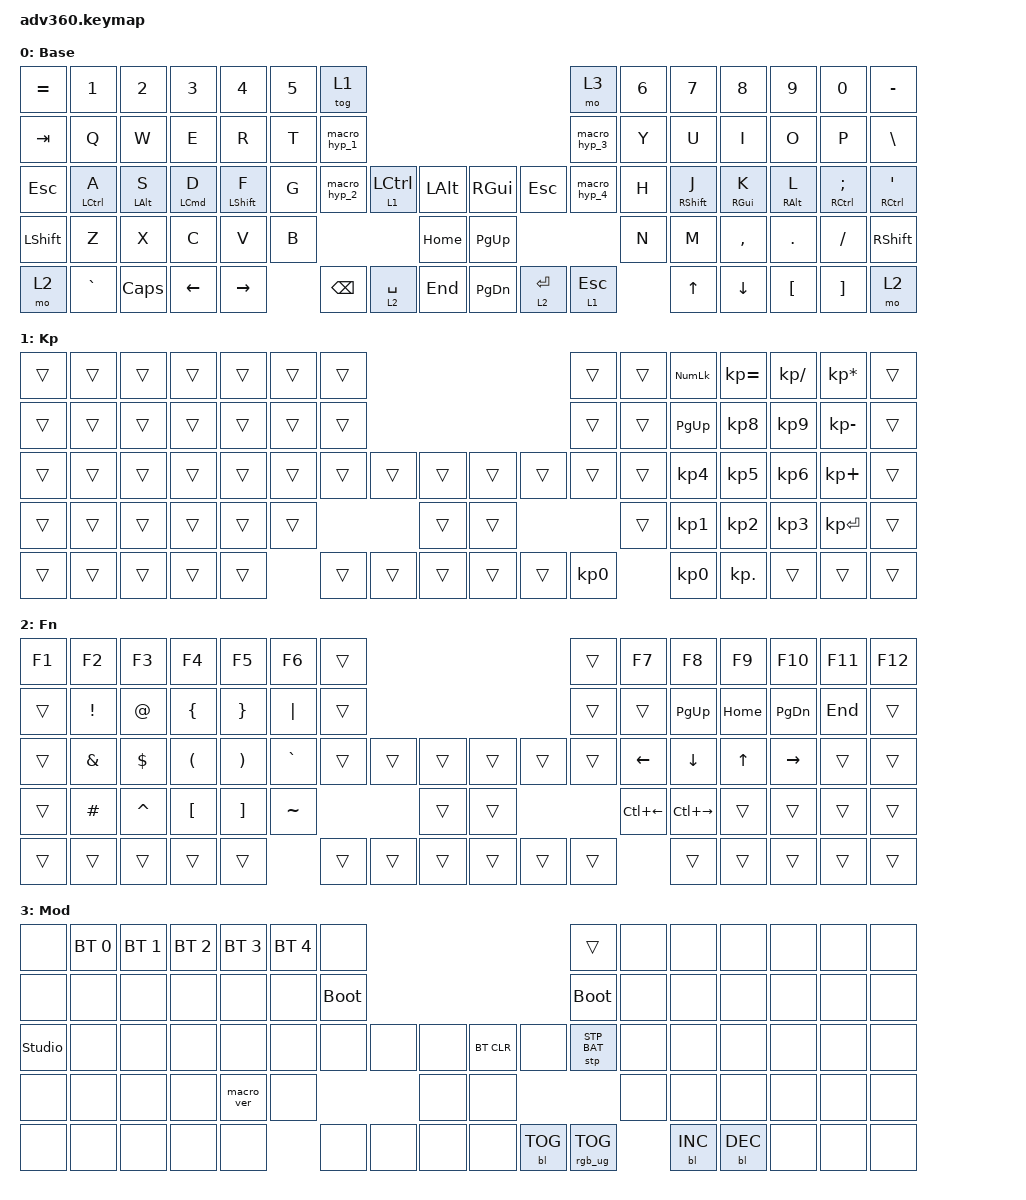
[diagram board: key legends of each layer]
/*
 * Copyright (c) 2020 The ZMK Contributors
 *
 * SPDX-License-Identifier: MIT
 */
/* THIS FILE WAS GENERATED!
 *
 * This file was generated automatically. You may or may not want to
 * edit it directly.
 */

#include <dt-bindings/zmk/stp.h>
#include <behaviors.dtsi>
#include <dt-bindings/zmk/backlight.h>
#include <dt-bindings/zmk/bt.h>
#include <dt-bindings/zmk/keys.h>
#include <dt-bindings/zmk/rgb.h>

/ {
    behaviors {
        #include "macros.dtsi"
        #include "version.dtsi"

        hm: homerow_mods {
            compatible = "zmk,behavior-hold-tap";
            label = "HOMEROW_MODS";
            #binding-cells = <2>;
            tapping-term-ms = <200>;
            quick_tap_ms = <175>;
            flavor = "tap-preferred";
            bindings = <&kp>, <&kp>;
        };
    };

    keymap {
        compatible = "zmk,keymap";

        default_layer {
            display-name = "Base";
            bindings = <
&kp EQUAL  &kp N1       &kp N2          &kp N3      &kp N4            &kp N5  &tog 1                                                              &mo 3         &kp N6  &kp N7       &kp N8           &kp N9      &kp N0          &kp MINUS
&kp TAB    &kp Q        &kp W           &kp E       &kp R             &kp T   &macro_hyp_1                                                        &macro_hyp_3  &kp Y   &kp U        &kp I            &kp O       &kp P           &kp BSLH
&kp ESC    &hm LCTRL A  &hm LEFT_ALT S  &hm LCMD D  &hm LEFT_SHIFT F  &kp G   &macro_hyp_2   &lt 1 LCTRL  &kp LEFT_ALT      &kp RGUI   &kp ESC    &macro_hyp_4  &kp H   &hm RSHFT J  &hm RIGHT_GUI K  &hm RALT L  &hm RCTRL SEMI  &mt RCTRL SQT
&kp LSHFT  &kp Z        &kp X           &kp C       &kp V             &kp B                               &kp HOME          &kp PG_UP                           &kp N   &kp M        &kp COMMA        &kp DOT     &kp FSLH        &kp RSHFT
&mo 2      &kp GRAVE    &kp CAPS        &kp LEFT    &kp RIGHT                 &kp BACKSPACE  &lt 2 SPACE  &kp END           &kp PG_DN  &lt 2 RET  &lt 1 ESC             &kp UP       &kp DOWN         &kp LBKT    &kp RBKT        &mo 2
            >;
        };

        keypad {
            display-name = "Kp";
            bindings = <
&trans  &trans  &trans  &trans  &trans  &trans  &trans                                      &trans     &trans  &kp KP_NUM       &kp KP_EQUAL     &kp KP_DIVIDE    &kp KP_MULTIPLY  &trans
&trans  &trans  &trans  &trans  &trans  &trans  &trans                                      &trans     &trans  &kp PG_UP        &kp KP_N8        &kp KP_N9        &kp KP_MINUS     &trans
&trans  &trans  &trans  &trans  &trans  &trans  &trans  &trans  &trans      &trans  &trans  &trans     &trans  &kp KP_NUMBER_4  &kp KP_NUMBER_5  &kp KP_NUMBER_6  &kp KP_PLUS      &trans
&trans  &trans  &trans  &trans  &trans  &trans                  &trans      &trans                     &trans  &kp KP_N1        &kp KP_N2        &kp KP_N3        &kp KP_ENTER     &trans
&trans  &trans  &trans  &trans  &trans          &trans  &trans  &trans      &trans  &trans  &kp KP_N0          &kp KP_NUMBER_0  &kp KP_DOT       &trans           &trans           &trans
            >;
        };

        fn {
            display-name = "Fn";
            bindings = <
&kp F1  &kp F2    &kp F3      &kp F4    &kp F5    &kp F6     &trans                                      &trans  &kp F7              &kp F8               &kp F9        &kp F10        &kp F11  &kp F12
&trans  &kp EXCL  &kp AT      &kp LBRC  &kp RBRC  &kp PIPE   &trans                                      &trans  &trans              &kp PAGE_UP          &kp HOME      &kp PAGE_DOWN  &kp END  &trans
&trans  &kp AMPS  &kp DOLLAR  &kp LPAR  &kp RPAR  &kp GRAVE  &trans  &trans  &trans      &trans  &trans  &trans  &kp LEFT            &kp DOWN             &kp UP_ARROW  &kp RIGHT      &trans   &trans
&trans  &kp HASH  &kp CARET   &kp LBKT  &kp RBKT  &kp TILDE                  &trans      &trans                  &kp LC(LEFT_ARROW)  &kp LC(RIGHT_ARROW)  &trans        &trans         &trans   &trans
&trans  &trans    &trans      &trans    &trans               &trans  &trans  &trans      &trans  &trans  &trans                      &trans               &trans        &trans         &trans   &trans
            >;
        };

        mod {
            display-name = "Mod";
            bindings = <
&none           &bt BT_SEL 0  &bt BT_SEL 1  &bt BT_SEL 2  &bt BT_SEL 3  &bt BT_SEL 4  &none                                                  &trans           &none  &none       &none       &none  &none  &none
&none           &none         &none         &none         &none         &none         &bootloader                                            &bootloader      &none  &none       &none       &none  &none  &none
&studio_unlock  &none         &none         &none         &none         &none         &none        &none  &none      &bt BT_CLR  &none       &stp STP_BAT     &none  &none       &none       &none  &none  &none
&none           &none         &none         &none         &macro_ver    &none                             &none      &none                                    &none  &none       &none       &none  &none  &none
&none           &none         &none         &none         &none                       &none        &none  &none      &none       &bl BL_TOG  &rgb_ug RGB_TOG         &bl BL_INC  &bl BL_DEC  &none  &none  &none
            >;
        };

        extra1 {
            display-name = "Red";
            status = "reserved";
        };

        extra2 {
            display-name = "Purple";
            status = "reserved";
        };

        extra3 {
            display-name = "Cyan";
            status = "reserved";
        };

        extra4 {
            display-name = "Yellow";
            status = "reserved";
        };
    };
};
